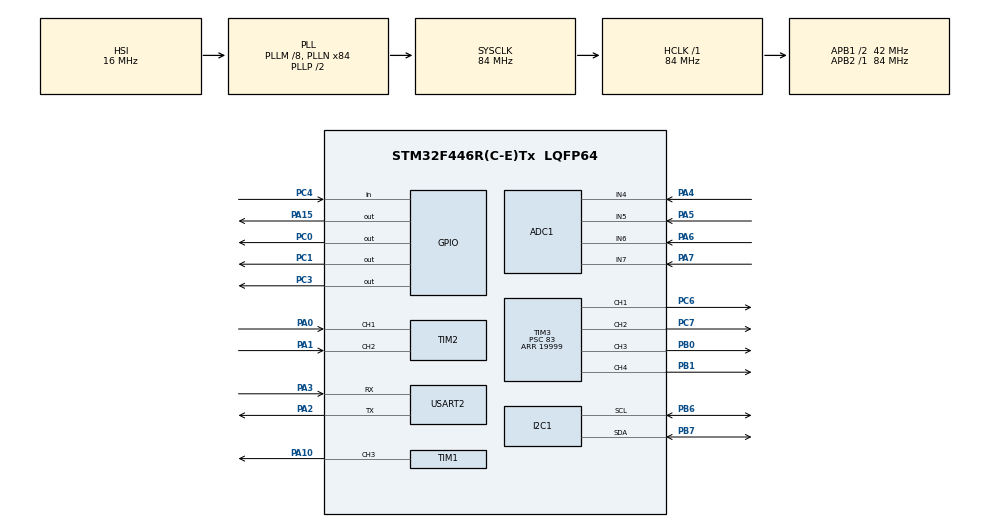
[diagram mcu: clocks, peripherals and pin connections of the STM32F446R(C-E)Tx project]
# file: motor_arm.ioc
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ADC1.Channel-3\#ChannelRegularConversion=ADC_CHANNEL_4
ADC1.NbrOfConversionFlag=1
ADC1.Rank-3\#ChannelRegularConversion=1
ADC1.SamplingTime-3\#ChannelRegularConversion=ADC_SAMPLETIME_3CYCLES
ADC1.master=1
Mcu.Family=STM32F4
Mcu.Name=STM32F446R(C-E)Tx
Mcu.Package=LQFP64
NVIC.PriorityGroup=NVIC_PRIORITYGROUP_4
NVIC.TIM4_IRQn=true\:0\:0\:false\:false\:true\:true\:true\:true
PA0-WKUP.Signal=S_TIM2_CH1_ETR
PA1.Signal=S_TIM2_CH2
PA10.Signal=S_TIM1_CH3
PA15.Signal=GPIO_Output
PA2.Mode=Asynchronous
PA2.Signal=USART2_TX
PA3.Mode=Asynchronous
PA3.Signal=USART2_RX
PA4.Signal=ADCx_IN4
PA5.Signal=ADCx_IN5
PA6.Signal=ADCx_IN6
PA7.Signal=ADCx_IN7
PB0.Signal=S_TIM3_CH3
PB1.Signal=S_TIM3_CH4
PB6.Mode=I2C
PB6.Signal=I2C1_SCL
PB7.Mode=I2C
PB7.Signal=I2C1_SDA
PC0.Signal=GPIO_Output
PC1.Signal=GPIO_Output
PC3.Signal=GPIO_Output
PC4.Signal=GPIO_Input
PC6.Signal=S_TIM3_CH1
PC7.Signal=S_TIM3_CH2
ProjectManager.HeapSize=0x200
ProjectManager.StackSize=0x400
ProjectManager.TargetToolchain=CMake
RCC.AHBFreq_Value=84000000
RCC.APB1CLKDivider=RCC_HCLK_DIV2
RCC.APB1Freq_Value=42000000
RCC.APB1TimFreq_Value=84000000
RCC.APB2Freq_Value=84000000
RCC.APB2TimFreq_Value=84000000
RCC.CortexFreq_Value=84000000
RCC.HCLKFreq_Value=84000000
RCC.PLLM=8
RCC.PLLN=84
RCC.SYSCLKFreq_VALUE=84000000
RCC.SYSCLKSource=RCC_SYSCLKSOURCE_PLLCLK
RCC.USBFreq_Value=84000000
RCC.VCOOutputFreq_Value=168000000
SH.ADCx_IN4.0=ADC1_IN4,IN4
SH.ADCx_IN5.0=ADC1_IN5,IN5
SH.ADCx_IN6.0=ADC1_IN6,IN6
SH.ADCx_IN7.0=ADC1_IN7,IN7
SH.S_TIM1_CH3.0=TIM1_CH3,PWM Generation3 CH3
SH.S_TIM2_CH1_ETR.0=TIM2_CH1,Encoder_Interface
SH.S_TIM2_CH2.0=TIM2_CH2,Encoder_Interface
SH.S_TIM3_CH1.0=TIM3_CH1,PWM Generation1 CH1
SH.S_TIM3_CH2.0=TIM3_CH2,PWM Generation2 CH2
SH.S_TIM3_CH3.0=TIM3_CH3,PWM Generation3 CH3
SH.S_TIM3_CH4.0=TIM3_CH4,PWM Generation4 CH4
TIM1.Channel-PWM\ Generation3\ CH3=TIM_CHANNEL_3
TIM1.Period=999
TIM1.Prescaler=83
TIM2.EncoderMode=TIM_ENCODERMODE_TI12
TIM3.AutoReloadPreload=TIM_AUTORELOAD_PRELOAD_ENABLE
TIM3.Channel-PWM\ Generation1\ CH1=TIM_CHANNEL_1
TIM3.Channel-PWM\ Generation2\ CH2=TIM_CHANNEL_2
TIM3.Channel-PWM\ Generation3\ CH3=TIM_CHANNEL_3
TIM3.Channel-PWM\ Generation4\ CH4=TIM_CHANNEL_4
TIM3.Period=19999
TIM3.Prescaler=83
TIM4.AutoReloadPreload=TIM_AUTORELOAD_PRELOAD_DISABLE
TIM4.Period=9999
TIM4.Prescaler=83
USART2.VirtualMode=VM_ASYNC
VP_TIM4_VS_ClockSourceINT.Mode=Internal
board=NUCLEO-F446RE

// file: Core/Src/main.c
/* USER CODE BEGIN Header */
/**
  ******************************************************************************
  * @file           : main.c
  * @brief          : Main program body
  ******************************************************************************
  * @attention
  *
  * Copyright (c) 2026 STMicroelectronics.
  * All rights reserved.
  *
  * This software is licensed under terms that can be found in the LICENSE file
  * in the root directory of this software component.
  * If no LICENSE file comes with this software, it is provided AS-IS.
  *
  ******************************************************************************
  */
/* USER CODE END Header */
#include "main.h"

/* USER CODE BEGIN PD */
#define PID_DT 0.01f
/* USER CODE END PD */

ADC_HandleTypeDef hadc1;

I2C_HandleTypeDef hi2c1;

TIM_HandleTypeDef htim1;
TIM_HandleTypeDef htim2;
TIM_HandleTypeDef htim3;
TIM_HandleTypeDef htim4;

UART_HandleTypeDef huart2;

/* USER CODE BEGIN PV */
volatile uint8_t pid_update_flag = 0;
/* USER CODE END PV */

void SystemClock_Config(void);
static void MX_GPIO_Init(void);
static void MX_I2C1_Init(void);
static void MX_TIM1_Init(void);
static void MX_TIM2_Init(void);
static void MX_USART2_UART_Init(void);
static void MX_TIM3_Init(void);
static void MX_ADC1_Init(void);
static void MX_TIM4_Init(void);

int main(void)
{

  /* MCU Configuration--------------------------------------------------------*/

  /* Reset of all peripherals, Initializes the Flash interface and the Systick. */
  HAL_Init();

  /* Configure the system clock */
  SystemClock_Config();

  /* Initialize all configured peripherals */
  MX_GPIO_Init();
  MX_I2C1_Init();
  MX_TIM1_Init();
  MX_TIM2_Init();
  MX_USART2_UART_Init();
  MX_TIM3_Init();
  MX_ADC1_Init();
  MX_TIM4_Init();
  /* USER CODE BEGIN 2 */
  HAL_TIM_PWM_Start(&htim3, TIM_CHANNEL_1);
  HAL_TIM_PWM_Start(&htim3, TIM_CHANNEL_2);
  HAL_TIM_PWM_Start(&htim3, TIM_CHANNEL_3);
  HAL_TIM_PWM_Start(&htim1, TIM_CHANNEL_3);
  HAL_TIM_Base_Start_IT(&htim4);
  HAL_TIM_Encoder_Start(&htim2, TIM_CHANNEL_ALL);
  set_home();
  /* USER CODE END 2 */

  /* Infinite loop */
  while (1)
  {

    /* USER CODE BEGIN 3 */
    if (pid_update_flag)
    {
      pid_update_flag = 0;

      update_servo_from_pot();
      update_target_from_pot();
      update_claw_servo_from_pot();
      update_joint_servo_from_pot();
      updated_ramp_target();
      pos_pid(PID_DT);
      print_encoder_count();
    }
  }
  /* USER CODE END 3 */
}

void SystemClock_Config(void)
{
  RCC_OscInitTypeDef RCC_OscInitStruct = {0};
  RCC_ClkInitTypeDef RCC_ClkInitStruct = {0};

  /** Configure the main internal regulator output voltage
  */
  __HAL_RCC_PWR_CLK_ENABLE();
  __HAL_PWR_VOLTAGESCALING_CONFIG(PWR_REGULATOR_VOLTAGE_SCALE3);

  /** Initializes the RCC Oscillators according to the specified parameters
  * in the RCC_OscInitTypeDef structure.
  */
  RCC_OscInitStruct.OscillatorType = RCC_OSCILLATORTYPE_HSI;
  RCC_OscInitStruct.HSIState = RCC_HSI_ON;
  RCC_OscInitStruct.HSICalibrationValue = RCC_HSICALIBRATION_DEFAULT;
  RCC_OscInitStruct.PLL.PLLState = RCC_PLL_ON;
  RCC_OscInitStruct.PLL.PLLSource = RCC_PLLSOURCE_HSI;
  RCC_OscInitStruct.PLL.PLLM = 8;
  RCC_OscInitStruct.PLL.PLLN = 84;
  RCC_OscInitStruct.PLL.PLLP = RCC_PLLP_DIV2;
  RCC_OscInitStruct.PLL.PLLQ = 2;
  RCC_OscInitStruct.PLL.PLLR = 2;
  if (HAL_RCC_OscConfig(&RCC_OscInitStruct) != HAL_OK)
  {
    Error_Handler();
  }

  /** Initializes the CPU, AHB and APB buses clocks
  */
  RCC_ClkInitStruct.ClockType = RCC_CLOCKTYPE_HCLK|RCC_CLOCKTYPE_SYSCLK
                              |RCC_CLOCKTYPE_PCLK1|RCC_CLOCKTYPE_PCLK2;
  RCC_ClkInitStruct.SYSCLKSource = RCC_SYSCLKSOURCE_PLLCLK;
  RCC_ClkInitStruct.AHBCLKDivider = RCC_SYSCLK_DIV1;
  RCC_ClkInitStruct.APB1CLKDivider = RCC_HCLK_DIV2;
  RCC_ClkInitStruct.APB2CLKDivider = RCC_HCLK_DIV1;

  if (HAL_RCC_ClockConfig(&RCC_ClkInitStruct, FLASH_LATENCY_2) != HAL_OK)
  {
    Error_Handler();
  }
}

static void MX_ADC1_Init(void)
{

  ADC_ChannelConfTypeDef sConfig = {0};

  /** Configure the global features of the ADC (Clock, Resolution, Data Alignment and number of conversion)
  */
  hadc1.Instance = ADC1;
  hadc1.Init.ClockPrescaler = ADC_CLOCK_SYNC_PCLK_DIV4;
  hadc1.Init.Resolution = ADC_RESOLUTION_12B;
  hadc1.Init.ScanConvMode = DISABLE;
  hadc1.Init.ContinuousConvMode = DISABLE;
  hadc1.Init.DiscontinuousConvMode = DISABLE;
  hadc1.Init.ExternalTrigConvEdge = ADC_EXTERNALTRIGCONVEDGE_NONE;
  hadc1.Init.ExternalTrigConv = ADC_SOFTWARE_START;
  hadc1.Init.DataAlign = ADC_DATAALIGN_RIGHT;
  hadc1.Init.NbrOfConversion = 1;
  hadc1.Init.DMAContinuousRequests = DISABLE;
  hadc1.Init.EOCSelection = ADC_EOC_SINGLE_CONV;
  if (HAL_ADC_Init(&hadc1) != HAL_OK)
  {
    Error_Handler();
  }

  /** Configure for the selected ADC regular channel its corresponding rank in the sequencer and its sample time.
  */
  sConfig.Channel = ADC_CHANNEL_4;
  sConfig.Rank = 1;
  sConfig.SamplingTime = ADC_SAMPLETIME_3CYCLES;
  if (HAL_ADC_ConfigChannel(&hadc1, &sConfig) != HAL_OK)
  {
    Error_Handler();
  }

}

static void MX_I2C1_Init(void)
{

  hi2c1.Instance = I2C1;
  hi2c1.Init.ClockSpeed = 100000;
  hi2c1.Init.DutyCycle = I2C_DUTYCYCLE_2;
  hi2c1.Init.OwnAddress1 = 0;
  hi2c1.Init.AddressingMode = I2C_ADDRESSINGMODE_7BIT;
  hi2c1.Init.DualAddressMode = I2C_DUALADDRESS_DISABLE;
  hi2c1.Init.OwnAddress2 = 0;
  hi2c1.Init.GeneralCallMode = I2C_GENERALCALL_DISABLE;
  hi2c1.Init.NoStretchMode = I2C_NOSTRETCH_DISABLE;
  if (HAL_I2C_Init(&hi2c1) != HAL_OK)
  {
    Error_Handler();
  }

}

static void MX_TIM1_Init(void)
{

  TIM_MasterConfigTypeDef sMasterConfig = {0};
  TIM_OC_InitTypeDef sConfigOC = {0};
  TIM_BreakDeadTimeConfigTypeDef sBreakDeadTimeConfig = {0};

  htim1.Instance = TIM1;
  htim1.Init.Prescaler = 83;
  htim1.Init.CounterMode = TIM_COUNTERMODE_UP;
  htim1.Init.Period = 999;
  htim1.Init.ClockDivision = TIM_CLOCKDIVISION_DIV1;
  htim1.Init.RepetitionCounter = 0;
  htim1.Init.AutoReloadPreload = TIM_AUTORELOAD_PRELOAD_DISABLE;
  if (HAL_TIM_PWM_Init(&htim1) != HAL_OK)
  {
    Error_Handler();
  }
  sMasterConfig.MasterOutputTrigger = TIM_TRGO_RESET;
  sMasterConfig.MasterSlaveMode = TIM_MASTERSLAVEMODE_DISABLE;
  if (HAL_TIMEx_MasterConfigSynchronization(&htim1, &sMasterConfig) != HAL_OK)
  {
    Error_Handler();
  }
  sConfigOC.OCMode = TIM_OCMODE_PWM1;
  sConfigOC.Pulse = 0;
  sConfigOC.OCPolarity = TIM_OCPOLARITY_HIGH;
  sConfigOC.OCNPolarity = TIM_OCNPOLARITY_HIGH;
  sConfigOC.OCFastMode = TIM_OCFAST_DISABLE;
  sConfigOC.OCIdleState = TIM_OCIDLESTATE_RESET;
  sConfigOC.OCNIdleState = TIM_OCNIDLESTATE_RESET;
  if (HAL_TIM_PWM_ConfigChannel(&htim1, &sConfigOC, TIM_CHANNEL_3) != HAL_OK)
  {
    Error_Handler();
  }
  sBreakDeadTimeConfig.OffStateRunMode = TIM_OSSR_DISABLE;
  sBreakDeadTimeConfig.OffStateIDLEMode = TIM_OSSI_DISABLE;
  sBreakDeadTimeConfig.LockLevel = TIM_LOCKLEVEL_OFF;
  sBreakDeadTimeConfig.DeadTime = 0;
  sBreakDeadTimeConfig.BreakState = TIM_BREAK_DISABLE;
  sBreakDeadTimeConfig.BreakPolarity = TIM_BREAKPOLARITY_HIGH;
  sBreakDeadTimeConfig.AutomaticOutput = TIM_AUTOMATICOUTPUT_DISABLE;
  if (HAL_TIMEx_ConfigBreakDeadTime(&htim1, &sBreakDeadTimeConfig) != HAL_OK)
  {
    Error_Handler();
  }
  HAL_TIM_MspPostInit(&htim1);

}

static void MX_TIM2_Init(void)
{

  TIM_Encoder_InitTypeDef sConfig = {0};
  TIM_MasterConfigTypeDef sMasterConfig = {0};

  htim2.Instance = TIM2;
  htim2.Init.Prescaler = 0;
  htim2.Init.CounterMode = TIM_COUNTERMODE_UP;
  htim2.Init.Period = 4294967295;
  htim2.Init.ClockDivision = TIM_CLOCKDIVISION_DIV1;
  htim2.Init.AutoReloadPreload = TIM_AUTORELOAD_PRELOAD_DISABLE;
  sConfig.EncoderMode = TIM_ENCODERMODE_TI12;
  sConfig.IC1Polarity = TIM_ICPOLARITY_RISING;
  sConfig.IC1Selection = TIM_ICSELECTION_DIRECTTI;
  sConfig.IC1Prescaler = TIM_ICPSC_DIV1;
  sConfig.IC1Filter = 0;
  sConfig.IC2Polarity = TIM_ICPOLARITY_RISING;
  sConfig.IC2Selection = TIM_ICSELECTION_DIRECTTI;
  sConfig.IC2Prescaler = TIM_ICPSC_DIV1;
  sConfig.IC2Filter = 0;
  if (HAL_TIM_Encoder_Init(&htim2, &sConfig) != HAL_OK)
  {
    Error_Handler();
  }
  sMasterConfig.MasterOutputTrigger = TIM_TRGO_RESET;
  sMasterConfig.MasterSlaveMode = TIM_MASTERSLAVEMODE_DISABLE;
  if (HAL_TIMEx_MasterConfigSynchronization(&htim2, &sMasterConfig) != HAL_OK)
  {
    Error_Handler();
  }

}

static void MX_TIM3_Init(void)
{

  TIM_MasterConfigTypeDef sMasterConfig = {0};
  TIM_OC_InitTypeDef sConfigOC = {0};

  htim3.Instance = TIM3;
  htim3.Init.Prescaler = 83;
  htim3.Init.CounterMode = TIM_COUNTERMODE_UP;
  htim3.Init.Period = 19999;
  htim3.Init.ClockDivision = TIM_CLOCKDIVISION_DIV1;
  htim3.Init.AutoReloadPreload = TIM_AUTORELOAD_PRELOAD_ENABLE;
  if (HAL_TIM_PWM_Init(&htim3) != HAL_OK)
  {
    Error_Handler();
  }
  sMasterConfig.MasterOutputTrigger = TIM_TRGO_RESET;
  sMasterConfig.MasterSlaveMode = TIM_MASTERSLAVEMODE_DISABLE;
  if (HAL_TIMEx_MasterConfigSynchronization(&htim3, &sMasterConfig) != HAL_OK)
  {
    Error_Handler();
  }
  sConfigOC.OCMode = TIM_OCMODE_PWM1;
  sConfigOC.Pulse = 0;
  sConfigOC.OCPolarity = TIM_OCPOLARITY_HIGH;
  sConfigOC.OCFastMode = TIM_OCFAST_DISABLE;
  if (HAL_TIM_PWM_ConfigChannel(&htim3, &sConfigOC, TIM_CHANNEL_1) != HAL_OK)
  {
    Error_Handler();
  }
  if (HAL_TIM_PWM_ConfigChannel(&htim3, &sConfigOC, TIM_CHANNEL_2) != HAL_OK)
  {
    Error_Handler();
  }
  if (HAL_TIM_PWM_ConfigChannel(&htim3, &sConfigOC, TIM_CHANNEL_3) != HAL_OK)
  {
    Error_Handler();
  }
  if (HAL_TIM_PWM_ConfigChannel(&htim3, &sConfigOC, TIM_CHANNEL_4) != HAL_OK)
  {
    Error_Handler();
  }
  HAL_TIM_MspPostInit(&htim3);

}

static void MX_TIM4_Init(void)
{

  TIM_ClockConfigTypeDef sClockSourceConfig = {0};
  TIM_MasterConfigTypeDef sMasterConfig = {0};

  htim4.Instance = TIM4;
  htim4.Init.Prescaler = 83;
  htim4.Init.CounterMode = TIM_COUNTERMODE_UP;
  htim4.Init.Period = 9999;
  htim4.Init.ClockDivision = TIM_CLOCKDIVISION_DIV1;
  htim4.Init.AutoReloadPreload = TIM_AUTORELOAD_PRELOAD_DISABLE;
  if (HAL_TIM_Base_Init(&htim4) != HAL_OK)
  {
    Error_Handler();
  }
  sClockSourceConfig.ClockSource = TIM_CLOCKSOURCE_INTERNAL;
  if (HAL_TIM_ConfigClockSource(&htim4, &sClockSourceConfig) != HAL_OK)
  {
    Error_Handler();
  }
  sMasterConfig.MasterOutputTrigger = TIM_TRGO_RESET;
  sMasterConfig.MasterSlaveMode = TIM_MASTERSLAVEMODE_DISABLE;
  if (HAL_TIMEx_MasterConfigSynchronization(&htim4, &sMasterConfig) != HAL_OK)
  {
    Error_Handler();
  }

}

static void MX_USART2_UART_Init(void)
{

  huart2.Instance = USART2;
  huart2.Init.BaudRate = 115200;
  huart2.Init.WordLength = UART_WORDLENGTH_8B;
  huart2.Init.StopBits = UART_STOPBITS_1;
  huart2.Init.Parity = UART_PARITY_NONE;
  huart2.Init.Mode = UART_MODE_TX_RX;
  huart2.Init.HwFlowCtl = UART_HWCONTROL_NONE;
  huart2.Init.OverSampling = UART_OVERSAMPLING_16;
  if (HAL_UART_Init(&huart2) != HAL_OK)
  {
    Error_Handler();
  }

}

static void MX_GPIO_Init(void)
{
  GPIO_InitTypeDef GPIO_InitStruct = {0};

  /* GPIO Ports Clock Enable */
  __HAL_RCC_GPIOC_CLK_ENABLE();
  __HAL_RCC_GPIOA_CLK_ENABLE();
  __HAL_RCC_GPIOB_CLK_ENABLE();

  /*Configure GPIO pin Output Level */
  HAL_GPIO_WritePin(GPIOC, GPIO_PIN_0|GPIO_PIN_1|GPIO_PIN_3, GPIO_PIN_RESET);

  /*Configure GPIO pin Output Level */
  HAL_GPIO_WritePin(GPIOA, GPIO_PIN_15, GPIO_PIN_RESET);

  /*Configure GPIO pins : PC0 PC1 PC3 */
  GPIO_InitStruct.Pin = GPIO_PIN_0|GPIO_PIN_1|GPIO_PIN_3;
  GPIO_InitStruct.Mode = GPIO_MODE_OUTPUT_PP;
  GPIO_InitStruct.Pull = GPIO_NOPULL;
  GPIO_InitStruct.Speed = GPIO_SPEED_FREQ_LOW;
  HAL_GPIO_Init(GPIOC, &GPIO_InitStruct);

  /*Configure GPIO pin : PC4 */
  GPIO_InitStruct.Pin = GPIO_PIN_4;
  GPIO_InitStruct.Mode = GPIO_MODE_INPUT;
  GPIO_InitStruct.Pull = GPIO_NOPULL;
  HAL_GPIO_Init(GPIOC, &GPIO_InitStruct);

  /*Configure GPIO pin : PA15 */
  GPIO_InitStruct.Pin = GPIO_PIN_15;
  GPIO_InitStruct.Mode = GPIO_MODE_OUTPUT_PP;
  GPIO_InitStruct.Pull = GPIO_NOPULL;
  GPIO_InitStruct.Speed = GPIO_SPEED_FREQ_LOW;
  HAL_GPIO_Init(GPIOA, &GPIO_InitStruct);

}

/* USER CODE BEGIN 4 */
void HAL_TIM_PeriodElapsedCallback(TIM_HandleTypeDef *htim)
{
  if (htim->Instance == TIM4)
  {
    pid_update_flag = 1;
  }
}
/* USER CODE END 4 */

void Error_Handler(void)
{
  __disable_irq();
  while (1)
  {
  }
}
